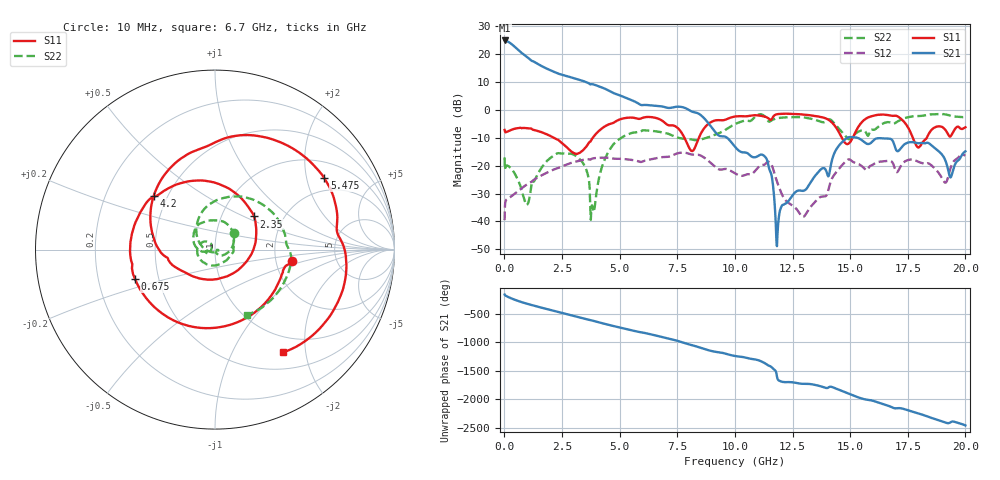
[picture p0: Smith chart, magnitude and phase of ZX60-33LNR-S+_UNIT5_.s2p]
!Mini-Circuits Laboratory
!S-Parameters
!Model: ZX60-33LNR-S+
!Run / Lot / Date Code: E181103 / N/A / N/A
!Fixture: N/A, Pressing Arm: N/A
!Network Analyzer: PNA-X N5242A - 423 4 ports;  Serial number: 74302
!Date: 11/9/2018 at 2:35:48 PM
!S/N: Unit# 5
!Volage and Current limited to 5V and 150mA
# Hz  S  dB  R  50
!Frequency  S11 dB  S11 Deg  S21 dB  S21 Deg  S12 dB  S12 Deg  S22 dB  S22 Deg
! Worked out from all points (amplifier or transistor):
!   879 points, 10 MHz to 20 GHz, reference 50 ohm
!   highest |S21| = 24.9 dB at 20 MHz (marker M1)
!   |S21| within 3 dB of that: start of sweep to 548.9 MHz
!   unconditionally stable (mu >= 1): start of sweep to end of sweep
!   at 1.7 GHz: K = 1.21, MAG = 16.5 dB, |S12| = -23.1 dB
!   at 9.025 GHz: K = 5.76, MAG = -4.1 dB, |S12| = -19.6 dB
!   at 20 GHz: K = 5.90, MAG = -9.9 dB, |S12| = -16.4 dB
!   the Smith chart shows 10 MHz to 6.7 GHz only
!   S11 on the Smith chart (normalised r, x): 10 MHz: 2.47, -0.40; 675 MHz: 0.37, -0.15; 2.35 GHz: 1.42, +0.57; 4.2 GHz: 0.42, +0.32; 5.475 GHz: 1.51, +2.56; 6.7 GHz: 0.74, -1.61
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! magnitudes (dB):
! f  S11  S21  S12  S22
! 10 MHz  -7.2  24.8  -39.6  -17.0
! 20 MHz  -7.7  24.9  -35.4  -21.1
! 675 MHz  -6.5  21.0  -28.6  -26.8
! 1 GHz  -6.6  18.8  -26.6  -33.9
! 2.35 GHz  -10.9  12.9  -20.8  -15.5
! 3.35 GHz  -14.9  10.5  -18.0  -18.4
! 3.825 GHz  -10.1  9.2  -17.5  -34.9
! 4.2 GHz  -6.9  8.1  -17.2  -21.3
! 5.475 GHz  -2.8  3.6  -17.9  -8.4
! 6.675 GHz  -3.2  1.4  -17.2  -7.8
! 6.7 GHz  -3.3  1.4  -17.1  -7.9
! 8.15 GHz  -14.8  -0.7  -16.0  -10.7
! 10.03 GHz  -2.4  -13.4  -22.9  -5.0
! 11.32 GHz  -2.5  -17.0  -19.4  -2.6
! 11.85 GHz  -1.5  -44.2  -26.3  -3.0
! 12.9 GHz  -1.6  -29.0  -38.2  -2.6
! 13.35 GHz  -2.0  -25.2  -34.2  -3.3
! 14.88 GHz  -12.3  -10.1  -18.0  -10.1
! 16.68 GHz  -1.9  -10.3  -18.3  -4.4
! 17.95 GHz  -13.5  -12.0  -18.6  -2.2
! 19.35 GHz  -9.6  -24.3  -21.0  -2.1
! 20 GHz  -6.2  -14.9  -16.4  -2.5
